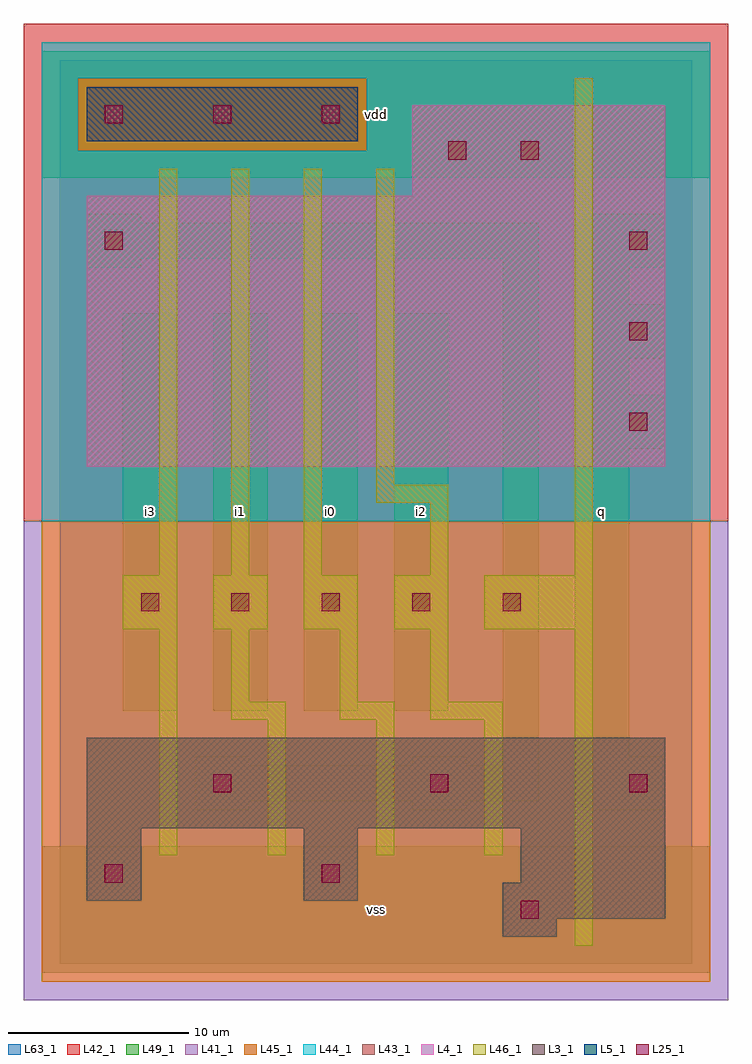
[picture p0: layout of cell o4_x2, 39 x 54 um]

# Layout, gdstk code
import gdstk
lib = gdstk.Library(unit=1e-6, precision=1e-09)
def R(c, l, rs):  # rectangles x0, y0, x1, y1
    for r in rs: c.add(gdstk.rectangle(r[:2], r[2:], *l))
def A(c, l, x, y, w, h, nx, ny, dx, dy):  # array of equal rectangles
    R(c, l, [(x+i*dx, y+j*dy, x+i*dx+w, y+j*dy+h) for i in range(nx) for j in range(ny)])
L3_1 = (3, 1)
L4_1 = (4, 1)
L5_1 = (5, 1)
L25_1 = (25, 1)
L41_1 = (41, 1)
L42_1 = (42, 1)
L43_1 = (43, 1)
L44_1 = (44, 1)
L45_1 = (45, 1)
L46_1 = (46, 1)
L49_1 = (49, 1)
L63_1 = (63, 1)

o4_x2 = lib.new_cell('o4_x2')
R(o4_x2, L3_1, [(24.5,1.5,27.5,2.5), (24.5,2.5,33.5,4.5), (1.5,3.5,4.5,7.5), (13.5,3.5,16.5,7.5), (25.5,4.5,33.5,7.5), (1.5,7.5,33.5,12.5)])
R(o4_x2, L4_1, [(1.5,27.5,33.5,42.5), (19.5,42.5,33.5,47.5)])
R(o4_x2, L5_1, [(1.5,45.5,16.5,48.5)])
A(o4_x2, L25_1, 4.5, 19.5, 1, 1, 5, 1, 5, 0)
A(o4_x2, L25_1, 31.5, 29.5, 1, 1, 1, 3, 0, 5)
A(o4_x2, L25_1, 2.5, 46.5, 1, 1, 3, 1, 6, 0)
R(o4_x2, L25_1, [(25.5,2.5,26.5,3.5), (2.5,4.5,3.5,5.5), (14.5,4.5,15.5,5.5), (8.5,9.5,9.5,10.5), (20.5,9.5,21.5,10.5), (31.5,9.5,32.5,10.5), (2.5,39.5,3.5,40.5), (21.5,44.5,22.5,45.5), (25.5,44.5,26.5,45.5)])
R(o4_x2, L41_1, [(-2,-2,37,24.5)])
R(o4_x2, L42_1, [(-2,24.5,37,52)])
R(o4_x2, L43_1, [(24.5,1.5,27.5,2.5), (24.5,2.5,33.5,4.5), (1.5,3.5,4.5,7.5), (13.5,3.5,16.5,7.5), (25.5,4.5,33.5,7.5), (1.5,7.5,33.5,12.5), (1.5,27.5,33.5,42.5), (19.5,42.5,33.5,47.5), (1.5,45.5,16.5,48.5)])
R(o4_x2, L44_1, [(-1,24.5,36,45), (-1,45,1,49), (17,45,36,49), (-1,49,36,51)])
R(o4_x2, L45_1, [(-1,-1,36,24.5), (1,45,17,49)])
A(o4_x2, L46_1, 11.5, 6, 1, 7.5, 3, 1, 6, 0)
A(o4_x2, L46_1, 3.5, 18.5, 3, 3, 4, 1, 5, 0)
A(o4_x2, L46_1, 5.5, 21.5, 1, 22.5, 3, 1, 4, 0)
R(o4_x2, L46_1, [(28.5,1,29.5,18.5), (5.5,6,6.5,18.5), (9.5,13.5,12.5,14.5), (15.5,13.5,18.5,14.5), (20.5,13.5,24.5,14.5), (9.5,14.5,10.5,18.5), (15.5,14.5,16.5,18.5), (20.5,14.5,21.5,18.5), (23.5,18.5,29.5,21.5), (20.5,21.5,21.5,25.5), (28.5,21.5,29.5,49), (17.5,25.5,21.5,26.5), (17.5,26.5,18.5,44)])
A(o4_x2, L49_1, 3.5, 14, 3, 22, 4, 1, 5, 0)
R(o4_x2, L49_1, [(-1,-0.5,36,6.5), (7.5,8.5,10.5,9), (19.5,8.5,22.5,9), (29,8.5,33.5,9), (7.5,9,26.5,11), (28.5,9,33.5,11.5), (7.5,11,10.5,11.5), (19.5,11,22.5,11.5), (24.5,11,26.5,18.5), (28.5,11.5,31.5,28.5), (23.5,18.5,26.5,21.5), (24.5,21.5,26.5,39), (28.5,28.5,33.5,31.5), (28.5,31.5,31.5,33.5), (28.5,33.5,33.5,36.5), (28.5,36.5,31.5,38.5), (1.5,38.5,4.5,39), (28.5,38.5,33.5,41), (1.5,39,26.5,41), (1.5,41,4.5,41.5), (29,41,33.5,41.5), (-1,43.5,36,50.5)])
R(o4_x2, L63_1, [(0,0,35,50)])
o4_x2.add(gdstk.Label('i3', (5,25), layer=49, texttype=1))
o4_x2.add(gdstk.Label('i3', (5,25), layer=49, texttype=1))
o4_x2.add(gdstk.Label('i0', (15,25), layer=49, texttype=1))
o4_x2.add(gdstk.Label('i1', (10,25), layer=49, texttype=1))
o4_x2.add(gdstk.Label('i1', (10,25), layer=49, texttype=1))
o4_x2.add(gdstk.Label('i0', (15,25), layer=49, texttype=1))
o4_x2.add(gdstk.Label('vss', (17.5,3), layer=49, texttype=1))
o4_x2.add(gdstk.Label('vss', (17.5,3), layer=49, texttype=1))
o4_x2.add(gdstk.Label('i2', (20,25), layer=49, texttype=1))
o4_x2.add(gdstk.Label('i2', (20,25), layer=49, texttype=1))
o4_x2.add(gdstk.Label('vdd', (17.5,47), layer=49, texttype=1))
o4_x2.add(gdstk.Label('vdd', (17.5,47), layer=49, texttype=1))
o4_x2.add(gdstk.Label('q', (30,25), layer=49, texttype=1))
o4_x2.add(gdstk.Label('q', (30,25), layer=49, texttype=1))

lib.write_gds('o4_x2.gds')
